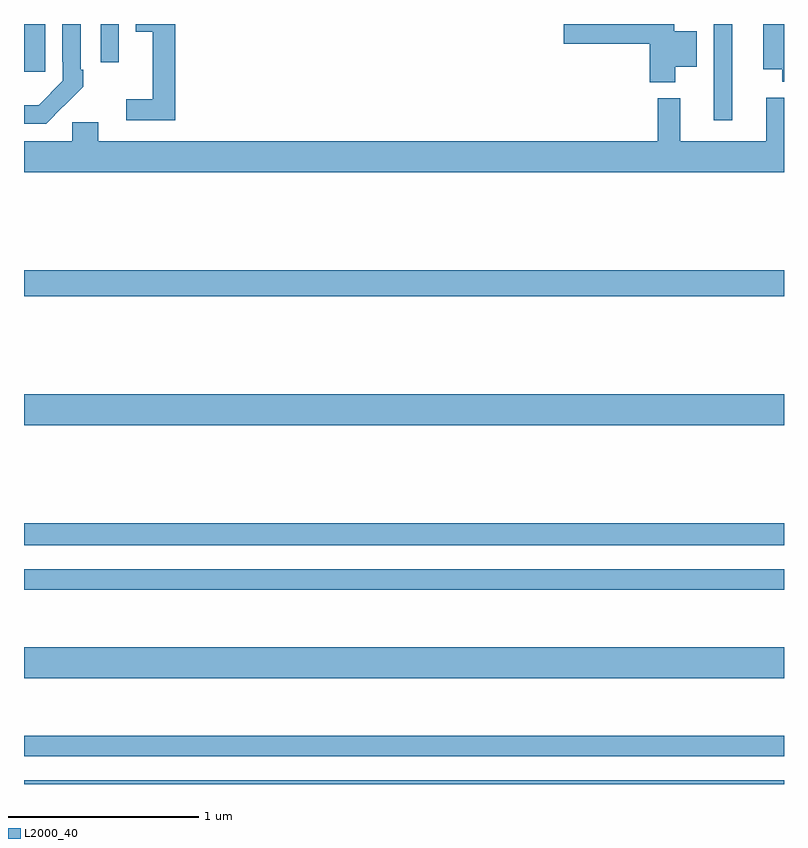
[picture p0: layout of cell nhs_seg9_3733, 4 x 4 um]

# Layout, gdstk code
import gdstk
lib = gdstk.Library(unit=1e-6, precision=1e-09)
def R(c, l, rs):  # rectangles x0, y0, x1, y1
    for r in rs: c.add(gdstk.rectangle(r[:2], r[2:], *l))
def P(c, l, *ps):  # polygons
    for p in ps: c.add(gdstk.Polygon(p, *l))
L2000_40 = (2000, 40)

nhs_seg9_3733 = lib.new_cell('nhs_seg9_3733')
R(nhs_seg9_3733, L2000_40, [(323,1226.5,327,1226.52), (323,1226.646,327,1226.755), (323,1227.056,327,1227.22), (323,1227.522,327,1227.63), (323,1227.756,327,1227.872), (323,1228.388,327,1228.552), (323,1229.068,327,1229.204), (326.631,1229.994,326.728,1230.5), (323,1230.249,323.113,1230.5), (323.403,1230.3,323.499,1230.5)])
P(nhs_seg9_3733, L2000_40, [(326.428,1230.275),(326.542,1230.275),(326.542,1230.463),(326.422,1230.463),(326.422,1230.5),(325.842,1230.5),(325.842,1230.395),(326.294,1230.395),(326.294,1230.194),(326.428,1230.194)],
  [(327,1230.5),(326.891,1230.5),(326.891,1230.263),(326.99,1230.263),(326.99,1230.197),(327,1230.197)],
  [(323.795,1230.5),(323.588,1230.5),(323.588,1230.458),(323.678,1230.458),(323.678,1230.103),(323.538,1230.103),(323.538,1229.994),(323.795,1229.994)],
  [(323.207,1230.067),(323.208,1230.066),(323.313,1230.171),(323.313,1230.259),(323.298,1230.259),(323.298,1230.5),(323.202,1230.5),(323.202,1230.301),(323.205,1230.301),(323.205,1230.201),(323.077,1230.073),(323,1230.073),(323,1229.976),(323.116,1229.976)],
  [(327,1230.112),(326.906,1230.112),(326.906,1229.884),(326.453,1229.884),(326.453,1230.109),(326.335,1230.109),(326.335,1229.884),(323.392,1229.884),(323.392,1229.982),(323.253,1229.982),(323.253,1229.884),(323,1229.884),(323,1229.72),(327,1229.72)])

lib.write_gds('nhs_seg9_3733.gds')
